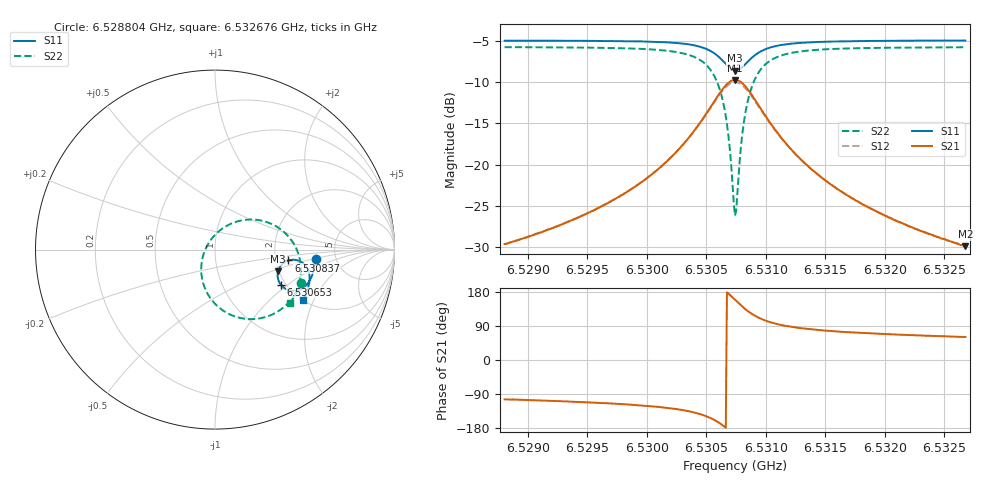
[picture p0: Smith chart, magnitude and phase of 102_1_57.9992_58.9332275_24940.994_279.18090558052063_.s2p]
#  HZ  S  RI  R  50.00
! Rohde & Schwarz Vector Network Analyzer
! Rohde-Schwarz,ZNB20-2Port,1311601062101988,3.16
! Created: UTC 3/21/2024, 12:54:50 AM
! freq[Hz]  re:S11  im:S11  re:S21  im:S21  re:S12  im:S12  re:S22  im:S22
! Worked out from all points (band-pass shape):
!   401 points, 6.528804 GHz to 6.532676 GHz, reference 50 ohm
!   highest |S21| = -9.73 dB at 6.53074 GHz (marker M1); lowest = -29.8 dB at 6.532676 GHz (marker M2)
!   |S21| within 3 dB of the highest: 6.530548 GHz to 6.530934 GHz (386.7 kHz wide, 0.00592 % of centre)
!   lowest |S11| = -8.6 dB at 6.53074 GHz (marker M3), VSWR 2.18, Z = 99.1 - j27.6 ohm
!   |S11| at or under -10 dB: nowhere
!   |S22| runs from -26.1 to -5.8 dB; largest |S21 - S12| = 0.014
!   S11 on the Smith chart (normalised r, x): 6.528804 GHz: 3.48, -0.56; 6.530653 GHz: 1.88, -0.89; 6.530837 GHz: 2.35, -0.34; 6.532676 GHz: 2.00, -1.66
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6.5288036e9  0.5607 -0.0549  -0.00795 -0.0322  -0.00847 -0.032  0.4807 -0.1842
6.5294523e9  0.5513 -0.1101  -0.0177 -0.0459  -0.0187 -0.0454  0.4484 -0.2464
6.5298105e9  0.5405 -0.1449  -0.0303 -0.0599  -0.0319 -0.0591  0.4151 -0.2904
6.5301009e9  0.5238 -0.1779  -0.0531 -0.079  -0.0554 -0.0774  0.3632 -0.3364
6.5303236e9  0.4966 -0.2085  -0.0949 -0.0998  -0.098 -0.0965  0.2782 -0.3767
6.5304881e9  0.451 -0.2286  -0.1671 -0.1077  -0.1698 -0.1004  0.1451 -0.3819
6.530585e9  0.4036 -0.2236  -0.2412 -0.0805  -0.2404 -0.0698  0.0213 -0.3216
6.5306527e9  0.3661 -0.1948  -0.2963 -0.0191  -0.2898 -0.0079  -0.0593 -0.2074
6.5306818e9  0.3543 -0.1734  -0.3113 0.0217  -0.3021 0.0316  -0.0758 -0.1368
6.5307205e9  0.3487 -0.1385  -0.3131 0.085  -0.3014 0.0912  -0.0661 -0.0326
6.5307398e9  0.3514 -0.1203  -0.3047 0.1171  -0.2923 0.121  -0.0458 0.0181
6.5307495e9  0.3543 -0.1116  -0.2979 0.1323  -0.2857 0.1352  -0.0321 0.0416
6.5307592e9  0.3581 -0.1031  -0.2898 0.1469  -0.2777 0.1485  -0.0162 0.0639
6.5307979e9  0.3804 -0.0757  -0.2463 0.1934  -0.2362 0.1916  0.0638 0.1318
6.5308367e9  0.409 -0.0604  -0.1947 0.2187  -0.1871 0.215  0.1535 0.1638
6.5309044e9  0.4549 -0.0586  -0.1146 0.2218  -0.1107 0.2183  0.2882 0.1533
6.5310012e9  0.4956 -0.0804  -0.0452 0.1897  -0.0434 0.1877  0.4003 0.0828
6.5311465e9  0.5201 -0.117  -0.00298 0.1404  -0.00187 0.1398  0.4623 -0.0172
6.5313885e9  0.5273 -0.1611  0.0151 0.092  0.0163 0.0917  0.4786 -0.1188
6.5316595e9  0.5232 -0.1953  0.0186 0.0644  0.0195 0.0641  0.4705 -0.1828
6.5320371e9  0.5124 -0.2319  0.018 0.0444  0.0189 0.0442  0.4518 -0.238
6.532676e9  0.4896 -0.282  0.0157 0.0281  0.0163 0.0279  0.4189 -0.2982
